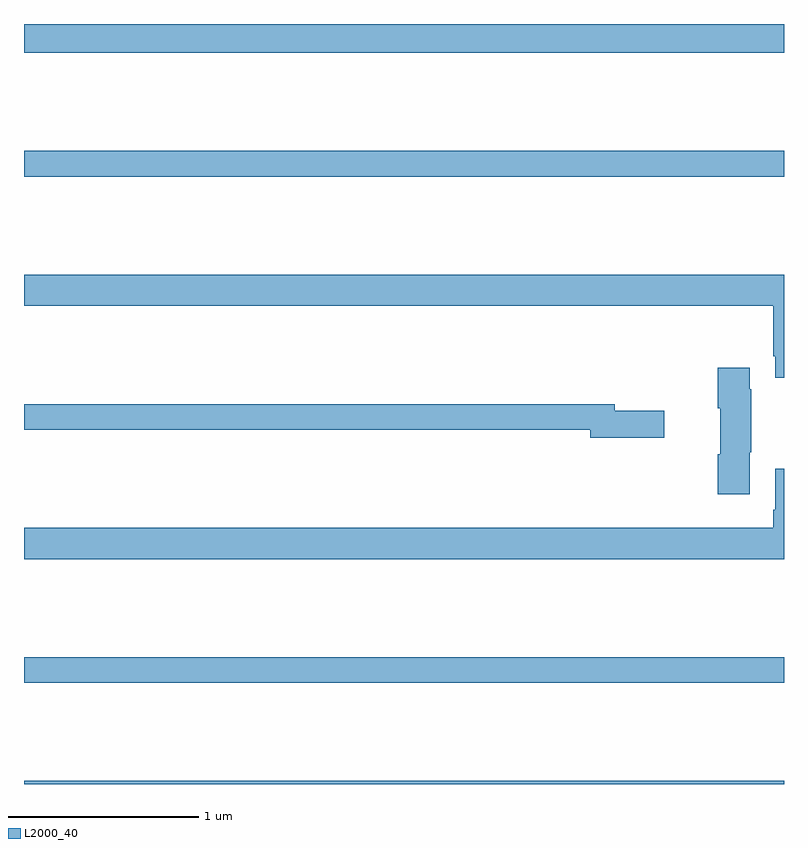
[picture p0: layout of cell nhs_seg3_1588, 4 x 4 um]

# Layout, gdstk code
import gdstk
lib = gdstk.Library(unit=1e-6, precision=1e-09)
def R(c, l, rs):  # rectangles x0, y0, x1, y1
    for r in rs: c.add(gdstk.rectangle(r[:2], r[2:], *l))
def P(c, l, *ps):  # polygons
    for p in ps: c.add(gdstk.Polygon(p, *l))
L2000_40 = (2000, 40)

nhs_seg3_1588 = lib.new_cell('nhs_seg3_1588')
R(nhs_seg3_1588, L2000_40, [(193,698.4,197,698.416), (193,698.932,197,699.068), (193,701.596,197,701.732), (193,702.248,197,702.4)])
P(nhs_seg3_1588, L2000_40, [(197,701.08),(193,701.08),(193,700.916),(196.943,700.916),(196.943,700.651),(196.955,700.651),(196.955,700.539),(197,700.539)],
  [(196.819,700.147),(196.827,700.147),(196.827,700.478),(196.819,700.478),(196.819,700.591),(196.652,700.591),(196.652,700.378),(196.664,700.378),(196.664,700.136),(196.652,700.136),(196.652,699.924),(196.819,699.924)],
  [(196.369,700.364),(196.108,700.364),(196.108,700.4),(193,700.4),(193,700.264),(195.98,700.264),(195.98,700.222),(196.369,700.222)],
  [(197,700.06),(196.955,700.06),(196.955,699.844),(196.943,699.844),(196.943,699.748),(193,699.748),(193,699.584),(197,699.584)])

lib.write_gds('nhs_seg3_1588.gds')
